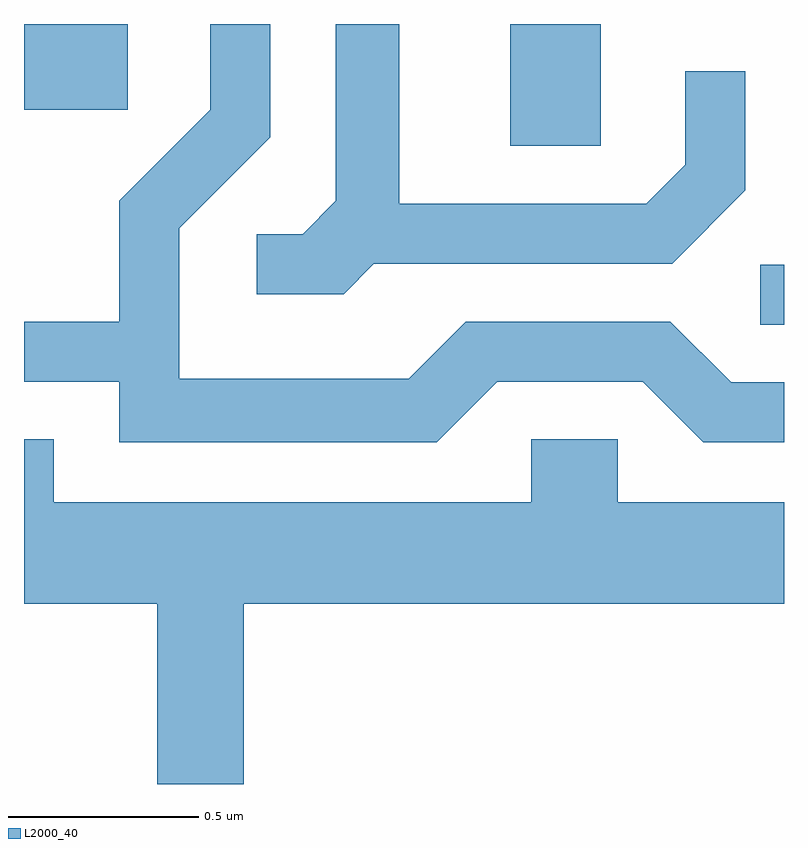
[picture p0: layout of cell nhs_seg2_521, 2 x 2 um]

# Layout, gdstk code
import gdstk
lib = gdstk.Library(unit=1e-6, precision=1e-09)
def R(c, l, rs):  # rectangles x0, y0, x1, y1
    for r in rs: c.add(gdstk.rectangle(r[:2], r[2:], *l))
def P(c, l, *ps):  # polygons
    for p in ps: c.add(gdstk.Polygon(p, *l))
L2000_40 = (2000, 40)

nhs_seg2_521 = lib.new_cell('nhs_seg2_521')
R(nhs_seg2_521, L2000_40, [(190.548,1089.011,190.611,1089.169), (189.891,1089.481,190.129,1089.802), (188.611,1089.576,188.884,1089.802)])
P(nhs_seg2_521, L2000_40, [(189.857,1088.861),(190.239,1088.861),(190.399,1088.701),(190.611,1088.701),(190.611,1088.859),(190.472,1088.859),(190.312,1089.019),(189.774,1089.019),(189.624,1088.869),(189.019,1088.869),(189.019,1089.264),(189.259,1089.504),(189.259,1089.802),(189.101,1089.802),(189.101,1089.577),(188.861,1089.337),(188.861,1089.019),(188.611,1089.019),(188.611,1088.861),(188.861,1088.861),(188.861,1088.701),(189.697,1088.701)],
  [(189.532,1089.171),(190.317,1089.171),(190.509,1089.364),(190.509,1089.678),(190.351,1089.678),(190.351,1089.432),(190.249,1089.329),(189.599,1089.329),(189.599,1089.802),(189.431,1089.802),(189.431,1089.337),(189.344,1089.249),(189.223,1089.249),(189.223,1089.091),(189.452,1089.091)],
  [(189.189,1088.276),(190.611,1088.276),(190.611,1088.544),(190.174,1088.544),(190.174,1088.709),(189.946,1088.709),(189.946,1088.544),(188.689,1088.544),(188.689,1088.709),(188.611,1088.709),(188.611,1088.276),(188.961,1088.276),(188.961,1087.802),(189.189,1087.802)])

lib.write_gds('nhs_seg2_521.gds')
